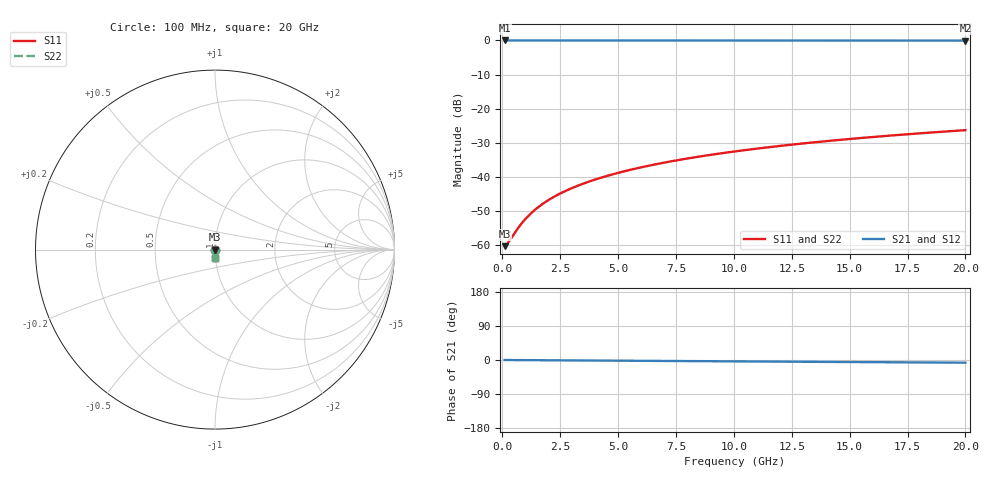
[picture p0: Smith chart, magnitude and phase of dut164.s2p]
! Touchstone file exported from HFSS 2026.1.0
!  File:  C:/ffzhzh/LocalFiles/Ansys_Project_Files/temp_train_TSV_164_1782990926_42984.aedt
!  Generated:  07:16:58 PM Jul  2, 2026
!  Design:  TSV
!  Project:  temp_train_TSV_164_1782990926_42984
! Variables:
!  h_bsmrdl = 2um
!  h_ox = 20um
!  h_rdl = 5um
!  h_sub = 71.22um
!  h_tmrdl = 5um
!  h_tsv = 71.22um
!  h_via = 3um
!  l_bsmrdl = 300um
!  l_sub = 405.98um
!  l_tmrdl = 200um
!  m_sub = 200um
!  pitch = 8.4um
!  r_tsv = 2.99um
!  s_tmrdl = 10um
!  w_bsmrdl = 18um
!  w_sub = 500um
!  w_tmrdl = 12um
!  x_tsv_center1 = 206um
!  x_tsv_center2 = 524um
!  x_tsv_center3 = 736um
!  x_tsv_center4 = 1054um
!  x_tsv_center5 = 1266um
!  x_tsv_center6 = 1584um
# GHz S MA R 50.000000
! Terminal data exported
! Port[1] = TSV1_1_T1
! Port[2] = TSV1_1_T2
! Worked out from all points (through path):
!   200 points, 100 MHz to 20 GHz, reference 50 ohm
!   highest |S21| = -0.01 dB at 100 MHz (marker M1); lowest = 0.0 dB at 20 GHz (marker M2)
!   lowest |S11| = -60.4 dB at 100 MHz (marker M3), VSWR 1.00, Z = 50.1 - j0.0175 ohm
!   |S11| at or under -10 dB: start of sweep to end of sweep
!   |S22| runs from -60.4 to -26.3 dB; largest |S21 - S12| = 5.1e-15
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0.1  0.0009601 -10.5  0.9991 -0.0  0.9991 -0.0  0.0009601 -10.5
! Gamma 0 0 0 0
! Port Impedance 50 0 50 0
0.2  0.001031 -20.3  0.999 -0.1  0.999 -0.1  0.001031 -20.3
0.3  0.001141 -29.0  0.999 -0.1  0.999 -0.1  0.001141 -29.0
0.7  0.001806 -52.1  0.9989 -0.3  0.9989 -0.3  0.001806 -52.1
0.9  0.002203 -58.7  0.9988 -0.3  0.9988 -0.3  0.002203 -58.7
1.2  0.002828 -65.4  0.9988 -0.4  0.9988 -0.4  0.002828 -65.4
1.5  0.003473 -69.8  0.9988 -0.6  0.9988 -0.6  0.003473 -69.8
1.9  0.004349 -73.6  0.9987 -0.7  0.9987 -0.7  0.004349 -73.6
2.4  0.00546 -76.8  0.9987 -0.9  0.9987 -0.9  0.00546 -76.8
2.9  0.006584 -78.8  0.9986 -1.1  0.9986 -1.1  0.006584 -78.8
3.5  0.007947 -80.6  0.9985 -1.3  0.9985 -1.3  0.007947 -80.6
4.2  0.009554 -82.0  0.9984 -1.5  0.9984 -1.5  0.009554 -82.0
5  0.01141 -83.1  0.9982 -1.8  0.9982 -1.8  0.01141 -83.1
5.9  0.01353 -84.2  0.998 -2.1  0.998 -2.1  0.01353 -84.2
6.8  0.01567 -85.0  0.9978 -2.5  0.9978 -2.5  0.01567 -85.0
8.3  0.01929 -86.1  0.9975 -3.0  0.9975 -3.0  0.01929 -86.1
10.1  0.02369 -87.3  0.9971 -3.6  0.9971 -3.6  0.02369 -87.3
11.7  0.02764 -88.2  0.9967 -4.2  0.9967 -4.2  0.02764 -88.2
13.4  0.03186 -89.1  0.9964 -4.8  0.9964 -4.8  0.03186 -89.1
15  0.03584 -90.0  0.996 -5.3  0.996 -5.3  0.03584 -90.0
16.7  0.04008 -90.8  0.9956 -5.9  0.9956 -5.9  0.04008 -90.8
20  0.04831 -92.4  0.9949 -7.1  0.9949 -7.1  0.04831 -92.4
